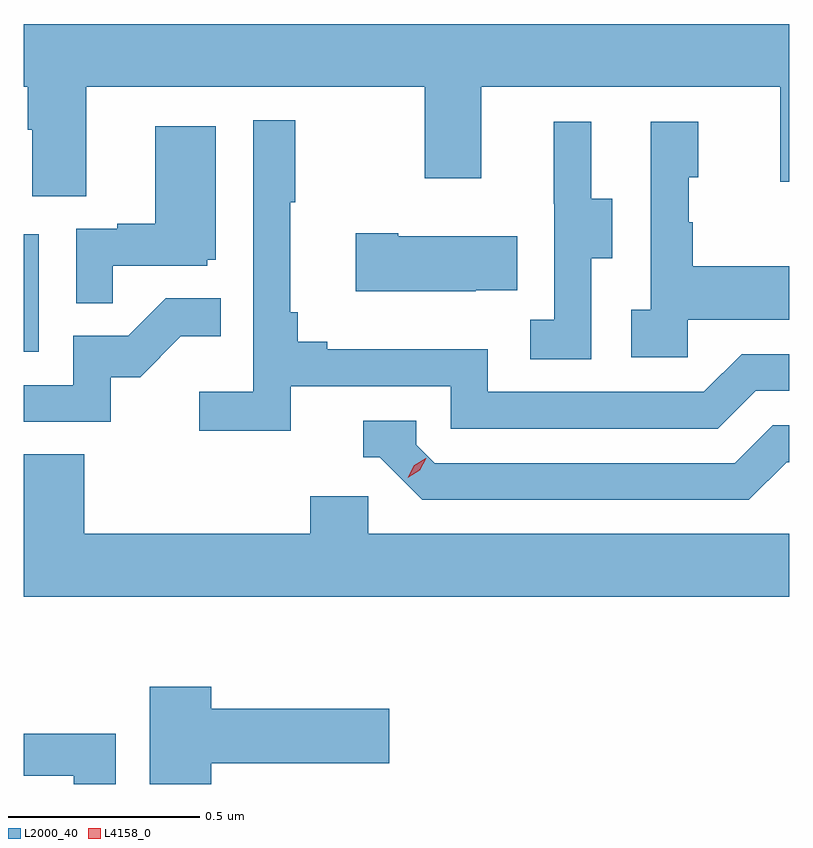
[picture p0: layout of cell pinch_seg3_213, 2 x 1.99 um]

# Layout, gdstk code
import gdstk
lib = gdstk.Library(unit=1e-6, precision=1e-09)
def R(c, l, rs):  # rectangles x0, y0, x1, y1
    for r in rs: c.add(gdstk.rectangle(r[:2], r[2:], *l))
def P(c, l, *ps):  # polygons
    for p in ps: c.add(gdstk.Polygon(p, *l))
L2000_40 = (2000, 40)
L4158_0 = (4158, 0)

pinch_seg3_213 = lib.new_cell('pinch_seg3_213')
R(pinch_seg3_213, L2000_40, [(981.96,746.844,982,747.151)])
P(pinch_seg3_213, L2000_40, [(982.123,747.536),(983.008,747.536),(983.008,747.297),(983.155,747.297),(983.155,747.536),(983.936,747.536),(983.936,747.288),(983.96,747.288),(983.96,747.7),(981.96,747.7),(981.96,747.536),(981.971,747.536),(981.971,747.424),(981.983,747.424),(981.983,747.25),(982.123,747.25)],
  [(982.658,746.754),(983.076,746.754),(983.076,746.643),(983.773,746.643),(983.872,746.742),(983.96,746.742),(983.96,746.838),(983.835,746.838),(983.736,746.739),(983.172,746.739),(983.172,746.851),(982.753,746.851),(982.753,746.87),(982.676,746.87),(982.676,746.947),(982.657,746.947),(982.657,747.235),(982.669,747.235),(982.669,747.448),(982.56,747.448),(982.56,746.74),(982.419,746.74),(982.419,746.638),(982.658,746.638)],
  [(983.694,746.927),(983.96,746.927),(983.96,747.067),(983.707,747.067),(983.707,747.182),(983.697,747.182),(983.697,747.3),(983.722,747.3),(983.722,747.445),(983.598,747.445),(983.598,746.954),(983.547,746.954),(983.547,746.829),(983.694,746.829)],
  [(983.442,747.088),(983.497,747.088),(983.497,747.243),(983.443,747.243),(983.443,747.445),(983.345,747.445),(983.345,747.231),(983.346,747.231),(983.346,746.927),(983.283,746.927),(983.283,746.824),(983.442,746.824)],
  [(982.193,747.069),(982.44,747.069),(982.44,747.084),(982.462,747.084),(982.462,747.433),(982.304,747.433),(982.304,747.178),(982.205,747.178),(982.205,747.165),(982.098,747.165),(982.098,746.971),(982.193,746.971)],
  [(983.141,747.005),(983.249,747.005),(983.249,747.145),(982.939,747.145),(982.939,747.153),(982.827,747.153),(982.827,747.002),(983.141,747.002)],
  [(982.188,746.778),(982.264,746.778),(982.371,746.885),(982.475,746.885),(982.475,746.984),(982.331,746.984),(982.233,746.886),(982.089,746.886),(982.089,746.757),(981.96,746.757),(981.96,746.661),(982.188,746.661)],
  [(983.953,746.556),(983.96,746.556),(983.96,746.652),(983.916,746.652),(983.817,746.553),(983.034,746.553),(982.986,746.601),(982.986,746.664),(982.847,746.664),(982.847,746.568),(982.89,746.568),(983.001,746.457),(983.854,746.457)],
  [(983.96,746.368),(982.86,746.368),(982.86,746.466),(982.709,746.466),(982.709,746.368),(982.118,746.368),(982.118,746.576),(981.96,746.576),(981.96,746.204),(983.96,746.204)],
  [(982.45,745.769),(982.915,745.769),(982.915,745.911),(982.45,745.911),(982.45,745.969),(982.289,745.969),(982.289,745.715),(982.45,745.715)],
  [(982.2,745.846),(981.96,745.846),(981.96,745.736),(982.091,745.736),(982.091,745.715),(982.2,745.715)])
P(pinch_seg3_213, L4158_0, [(982.963,746.515),(982.963,746.515),(982.98,746.547),(983.01,746.566),(983.011,746.566),(983.011,746.566),(982.994,746.534),(982.963,746.515)])

lib.write_gds('pinch_seg3_213.gds')
